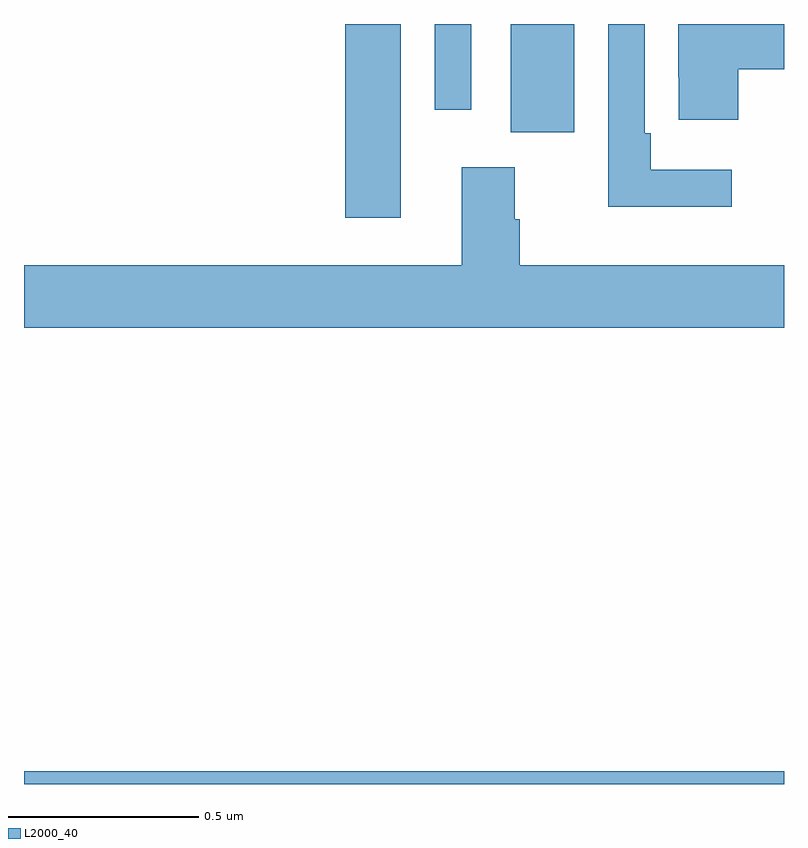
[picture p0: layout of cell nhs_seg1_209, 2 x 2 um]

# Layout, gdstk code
import gdstk
lib = gdstk.Library(unit=1e-6, precision=1e-09)
def R(c, l, rs):  # rectangles x0, y0, x1, y1
    for r in rs: c.add(gdstk.rectangle(r[:2], r[2:], *l))
def P(c, l, *ps):  # polygons
    for p in ps: c.add(gdstk.Polygon(p, *l))
L2000_40 = (2000, 40)

nhs_seg1_209 = lib.new_cell('nhs_seg1_209')
R(nhs_seg1_209, L2000_40, [(113,549.199,115,549.232), (113.846,550.689,113.992,551.199), (114.281,550.914,114.448,551.199), (114.081,550.974,114.177,551.199)])
P(nhs_seg1_209, L2000_40, [(114.879,551.08),(115,551.08),(115,551.199),(114.722,551.199),(114.722,551.059),(114.723,551.059),(114.723,550.947),(114.879,550.947)],
  [(114.862,550.816),(114.649,550.816),(114.649,550.912),(114.633,550.912),(114.633,551.199),(114.537,551.199),(114.537,550.718),(114.862,550.718)],
  [(115,550.564),(114.305,550.564),(114.305,550.685),(114.292,550.685),(114.292,550.822),(114.152,550.822),(114.152,550.564),(113,550.564),(113,550.4),(115,550.4)])

lib.write_gds('nhs_seg1_209.gds')
